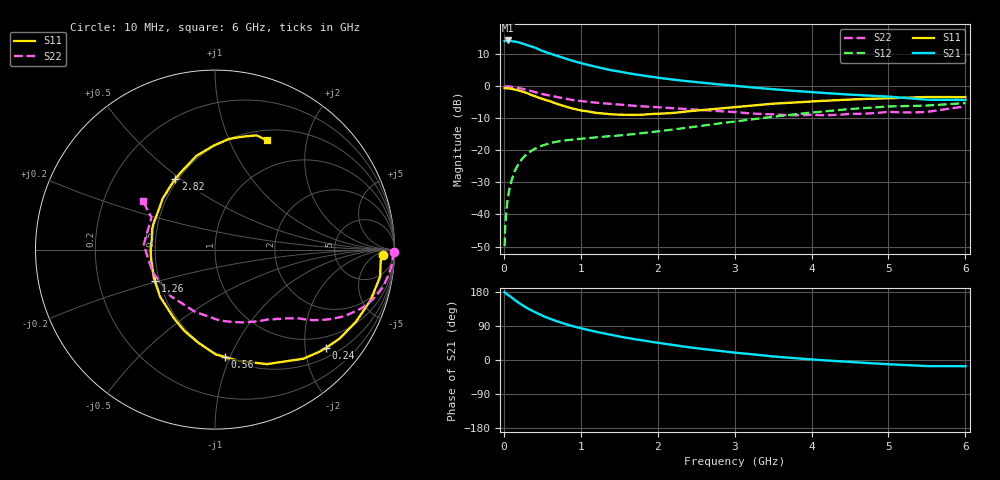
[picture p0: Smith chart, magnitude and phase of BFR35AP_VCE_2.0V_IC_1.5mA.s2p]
! Infineon Technologies  Discrete & RF Semiconductors
! BFR35AP
! VCE =  2.0 V,  IC =  1.5 mA
! Common Emitter S-Parameters:  Nov 2015
# GHz  S  MA  R  50
!  f  S11  S21  S12  S22
! GHz  MAG  ANG  MAG  ANG  MAG  ANG  MAG  ANG
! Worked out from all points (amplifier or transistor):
!   210 points, 10 MHz to 6 GHz, reference 50 ohm
!   highest |S21| = 14.3 dB at 50 MHz (marker M1)
!   |S21| within 3 dB of that: start of sweep to 474.7 MHz
!   unconditionally stable (mu >= 1): 1.25 GHz to end of sweep
!   at 185 MHz: K = 0.19, MSG = 19.1 dB, |S12| = -24.5 dB
!   at 1.52 GHz: K = 1.12, MAG = 7.8 dB, |S12| = -15.3 dB
!   at 6 GHz: K = 1.03, MAG = -0.6 dB, |S12| = -5.3 dB
!   S11 on the Smith chart (normalised r, x): 10 MHz: 24, -11; 240 MHz: 0.71, -2.45; 560 MHz: 0.51, -0.96; 1.26 GHz: 0.47, -0.19; 2.82 GHz: 0.48, +0.48; 6 GHz: 0.62, +1.39
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0.01  0.9342 -1.8  5.048 178.9  0.0032 90.9  0.9993 -0.8
0.025  0.9258 -4.7  5.079 176.1  0.0087 86.0  0.991 -2.1
0.05  0.9325 -9.3  5.16 172.4  0.0172 84.7  0.9916 -4.3
0.09  0.9136 -16.3  5.053 166.7  0.0304 80.1  0.9789 -7.6
0.15  0.8825 -27.0  4.943 156.9  0.0499 73.6  0.9593 -12.5
0.2  0.8535 -35.4  4.806 150.1  0.0636 69.3  0.9334 -16.2
0.24  0.8257 -41.7  4.611 145.0  0.0741 65.3  0.9099 -18.7
0.3  0.7821 -51.0  4.383 137.2  0.088 60.9  0.875 -22.2
0.4  0.7006 -65.6  4.006 126.6  0.1055 54.2  0.8115 -27.2
0.5  0.6338 -78.0  3.548 116.8  0.1185 49.0  0.7533 -30.9
0.56  0.6005 -84.8  3.345 112.2  0.1251 46.6  0.7276 -32.4
0.7  0.5254 -100.5  2.954 101.4  0.1371 42.1  0.6724 -35.8
0.8  0.4836 -110.8  2.69 94.8  0.143 40.0  0.6377 -37.6
1.02  0.4149 -131.6  2.258 82.9  0.1522 37.6  0.5821 -41.0
1.26  0.3774 -152.4  1.923 72.0  0.1617 36.6  0.5449 -44.7
1.6  0.359 -178.9  1.602 58.3  0.1749 37.4  0.5061 -50.1
2.02  0.373 155.0  1.345 44.8  0.199 40.0  0.4681 -58.0
2.82  0.4502 119.5  1.06 23.7  0.2642 40.6  0.4071 -80.0
3.1  0.4814 111.0  0.989 17.6  0.2918 39.1  0.3848 -90.4
4.1  0.5861 89.3  0.792 -0.0  0.3976 29.7  0.3542 -138.9
5.1  0.6536 74.8  0.673 -12.1  0.485 15.2  0.3927 171.6
6  0.6743 64.5  0.61 -16.4  0.5448 4.3  0.4834 146.1
